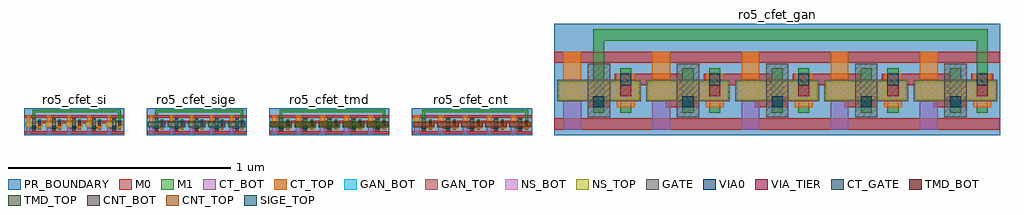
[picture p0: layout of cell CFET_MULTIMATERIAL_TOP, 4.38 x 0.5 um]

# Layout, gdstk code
import gdstk
lib = gdstk.Library(unit=1e-6, precision=1e-09)
def R(c, l, rs):  # rectangles x0, y0, x1, y1
    for r in rs: c.add(gdstk.rectangle(r[:2], r[2:], *l))
def A(c, l, x, y, w, h, nx, ny, dx, dy):  # array of equal rectangles
    R(c, l, [(x+i*dx, y+j*dy, x+i*dx+w, y+j*dy+h) for i in range(nx) for j in range(ny)])
PR_BOUNDARY = (1, 0)
NS_BOT = (10, 0)
NS_TOP = (11, 0)
GATE = (20, 0)
CT_GATE = (21, 0)
CT_BOT = (30, 0)
CT_TOP = (31, 0)
VIA_TIER = (35, 0)
M0 = (40, 0)
VIA0 = (41, 0)
M1 = (42, 0)
SIGE_TOP = (50, 0)
TMD_BOT = (51, 0)
TMD_TOP = (52, 0)
CNT_BOT = (53, 0)
CNT_TOP = (54, 0)
GAN_BOT = (55, 0)
GAN_TOP = (56, 0)

inv_cfet_si = lib.new_cell('inv_cfet_si')
R(inv_cfet_si, PR_BOUNDARY, [(0,0,0.09,0.096)])
R(inv_cfet_si, NS_BOT, [(0.008,0.038,0.082,0.058)])
R(inv_cfet_si, NS_TOP, [(0.008,0.038,0.082,0.058)])
R(inv_cfet_si, GATE, [(0.037,0.02,0.053,0.076)])
R(inv_cfet_si, CT_GATE, [(0.039,0.03,0.051,0.042)])
R(inv_cfet_si, CT_BOT, [(0.013,0.006,0.029,0.058), (0.061,0.03,0.077,0.066)])
R(inv_cfet_si, CT_TOP, [(0.061,0.03,0.077,0.066), (0.013,0.038,0.029,0.09)])
R(inv_cfet_si, VIA_TIER, [(0.063,0.042,0.075,0.054)])
R(inv_cfet_si, M0, [(0,0.006,0.09,0.018), (0.033,0.03,0.057,0.042), (0.057,0.054,0.081,0.066), (0,0.078,0.09,0.09)])
R(inv_cfet_si, VIA0, [(0.039,0.03,0.051,0.042), (0.063,0.054,0.075,0.066)])
R(inv_cfet_si, M1, [(0.039,0.024,0.051,0.072), (0.063,0.024,0.075,0.072)])
inv_cfet_si.add(gdstk.Label('in', (0.045,0.048), layer=42, texttype=1))
inv_cfet_si.add(gdstk.Label('out', (0.069,0.048), layer=42, texttype=1))
inv_cfet_si.add(gdstk.Label('vdd', (0.045,0.084), layer=40, texttype=1))
inv_cfet_si.add(gdstk.Label('vss', (0.045,0.012), layer=40, texttype=1))

ro5_cfet_si = lib.new_cell('ro5_cfet_si')
R(ro5_cfet_si, PR_BOUNDARY, [(0,0,0.45,0.12)])
A(ro5_cfet_si, M0, 0.111, 0.03, 0.018, 0.036, 4, 1, 0.09, 0)
A(ro5_cfet_si, M0, 0.081, 0.054, 0.048, 0.012, 4, 1, 0.09, 0)
R(ro5_cfet_si, M1, [(0.039,0.072,0.051,0.114), (0.423,0.072,0.435,0.114), (0.039,0.102,0.435,0.114)])
ro5_cfet_si.add(gdstk.Reference(inv_cfet_si, (0,0)))
ro5_cfet_si.add(gdstk.Reference(inv_cfet_si, (0.09,0)))
ro5_cfet_si.add(gdstk.Reference(inv_cfet_si, (0.18,0)))
ro5_cfet_si.add(gdstk.Reference(inv_cfet_si, (0.27,0)))
ro5_cfet_si.add(gdstk.Reference(inv_cfet_si, (0.36,0)))
ro5_cfet_si.add(gdstk.Label('n3', (0.249,0.03), layer=42, texttype=1))
ro5_cfet_si.add(gdstk.Label('n5_fb', (0.429,0.108), layer=42, texttype=1))
ro5_cfet_si.add(gdstk.Label('vdd', (0.225,0.084), layer=40, texttype=1))
ro5_cfet_si.add(gdstk.Label('vss', (0.225,0.012), layer=40, texttype=1))

inv_cfet_sige = lib.new_cell('inv_cfet_sige')
R(inv_cfet_sige, PR_BOUNDARY, [(0,0,0.09,0.096)])
R(inv_cfet_sige, NS_BOT, [(0.008,0.038,0.082,0.058)])
R(inv_cfet_sige, NS_TOP, [(0.008,0.038,0.082,0.058)])
R(inv_cfet_sige, GATE, [(0.037,0.02,0.053,0.076)])
R(inv_cfet_sige, CT_GATE, [(0.039,0.03,0.051,0.042)])
R(inv_cfet_sige, CT_BOT, [(0.013,0.006,0.029,0.058), (0.061,0.03,0.077,0.066)])
R(inv_cfet_sige, CT_TOP, [(0.061,0.03,0.077,0.066), (0.013,0.038,0.029,0.09)])
R(inv_cfet_sige, VIA_TIER, [(0.063,0.042,0.075,0.054)])
R(inv_cfet_sige, M0, [(0,0.006,0.09,0.018), (0.033,0.03,0.057,0.042), (0.057,0.054,0.081,0.066), (0,0.078,0.09,0.09)])
R(inv_cfet_sige, VIA0, [(0.039,0.03,0.051,0.042), (0.063,0.054,0.075,0.066)])
R(inv_cfet_sige, M1, [(0.039,0.024,0.051,0.072), (0.063,0.024,0.075,0.072)])
R(inv_cfet_sige, SIGE_TOP, [(0.006,0.036,0.084,0.06)])
inv_cfet_sige.add(gdstk.Label('in', (0.045,0.048), layer=42, texttype=1))
inv_cfet_sige.add(gdstk.Label('out', (0.069,0.048), layer=42, texttype=1))
inv_cfet_sige.add(gdstk.Label('vdd', (0.045,0.084), layer=40, texttype=1))
inv_cfet_sige.add(gdstk.Label('vss', (0.045,0.012), layer=40, texttype=1))

ro5_cfet_sige = lib.new_cell('ro5_cfet_sige')
R(ro5_cfet_sige, PR_BOUNDARY, [(0,0,0.45,0.12)])
A(ro5_cfet_sige, M0, 0.111, 0.03, 0.018, 0.036, 4, 1, 0.09, 0)
A(ro5_cfet_sige, M0, 0.081, 0.054, 0.048, 0.012, 4, 1, 0.09, 0)
R(ro5_cfet_sige, M1, [(0.039,0.072,0.051,0.114), (0.423,0.072,0.435,0.114), (0.039,0.102,0.435,0.114)])
ro5_cfet_sige.add(gdstk.Reference(inv_cfet_sige, (0,0)))
ro5_cfet_sige.add(gdstk.Reference(inv_cfet_sige, (0.09,0)))
ro5_cfet_sige.add(gdstk.Reference(inv_cfet_sige, (0.18,0)))
ro5_cfet_sige.add(gdstk.Reference(inv_cfet_sige, (0.27,0)))
ro5_cfet_sige.add(gdstk.Reference(inv_cfet_sige, (0.36,0)))
ro5_cfet_sige.add(gdstk.Label('n3', (0.249,0.03), layer=42, texttype=1))
ro5_cfet_sige.add(gdstk.Label('n5_fb', (0.429,0.108), layer=42, texttype=1))
ro5_cfet_sige.add(gdstk.Label('vdd', (0.225,0.084), layer=40, texttype=1))
ro5_cfet_sige.add(gdstk.Label('vss', (0.225,0.012), layer=40, texttype=1))

inv_cfet_tmd = lib.new_cell('inv_cfet_tmd')
R(inv_cfet_tmd, PR_BOUNDARY, [(0,0,0.108,0.096)])
R(inv_cfet_tmd, NS_BOT, [(0.008,0.038,0.1,0.058)])
R(inv_cfet_tmd, NS_TOP, [(0.008,0.038,0.1,0.058)])
R(inv_cfet_tmd, GATE, [(0.044,0.02,0.064,0.076)])
R(inv_cfet_tmd, CT_GATE, [(0.048,0.03,0.06,0.042)])
R(inv_cfet_tmd, CT_BOT, [(0.012,0.006,0.036,0.058), (0.072,0.03,0.096,0.066)])
R(inv_cfet_tmd, CT_TOP, [(0.072,0.03,0.096,0.066), (0.012,0.038,0.036,0.09)])
R(inv_cfet_tmd, VIA_TIER, [(0.078,0.042,0.09,0.054)])
R(inv_cfet_tmd, M0, [(0,0.006,0.108,0.018), (0.042,0.03,0.066,0.042), (0.072,0.054,0.096,0.066), (0,0.078,0.108,0.09)])
R(inv_cfet_tmd, VIA0, [(0.048,0.03,0.06,0.042), (0.078,0.054,0.09,0.066)])
R(inv_cfet_tmd, M1, [(0.048,0.024,0.06,0.072), (0.078,0.024,0.09,0.072)])
R(inv_cfet_tmd, TMD_BOT, [(0.006,0.036,0.102,0.06)])
R(inv_cfet_tmd, TMD_TOP, [(0.006,0.036,0.102,0.06)])
inv_cfet_tmd.add(gdstk.Label('in', (0.054,0.048), layer=42, texttype=1))
inv_cfet_tmd.add(gdstk.Label('out', (0.084,0.048), layer=42, texttype=1))
inv_cfet_tmd.add(gdstk.Label('vdd', (0.054,0.084), layer=40, texttype=1))
inv_cfet_tmd.add(gdstk.Label('vss', (0.054,0.012), layer=40, texttype=1))

ro5_cfet_tmd = lib.new_cell('ro5_cfet_tmd')
R(ro5_cfet_tmd, PR_BOUNDARY, [(0,0,0.54,0.12)])
A(ro5_cfet_tmd, M0, 0.138, 0.03, 0.018, 0.036, 4, 1, 0.108, 0)
A(ro5_cfet_tmd, M0, 0.096, 0.054, 0.06, 0.012, 4, 1, 0.108, 0)
R(ro5_cfet_tmd, M1, [(0.048,0.072,0.06,0.114), (0.51,0.072,0.522,0.114), (0.048,0.102,0.522,0.114)])
ro5_cfet_tmd.add(gdstk.Reference(inv_cfet_tmd, (0,0)))
ro5_cfet_tmd.add(gdstk.Reference(inv_cfet_tmd, (0.108,0)))
ro5_cfet_tmd.add(gdstk.Reference(inv_cfet_tmd, (0.216,0)))
ro5_cfet_tmd.add(gdstk.Reference(inv_cfet_tmd, (0.324,0)))
ro5_cfet_tmd.add(gdstk.Reference(inv_cfet_tmd, (0.432,0)))
ro5_cfet_tmd.add(gdstk.Label('n3', (0.3,0.03), layer=42, texttype=1))
ro5_cfet_tmd.add(gdstk.Label('n5_fb', (0.516,0.108), layer=42, texttype=1))
ro5_cfet_tmd.add(gdstk.Label('vdd', (0.27,0.084), layer=40, texttype=1))
ro5_cfet_tmd.add(gdstk.Label('vss', (0.27,0.012), layer=40, texttype=1))

inv_cfet_cnt = lib.new_cell('inv_cfet_cnt')
R(inv_cfet_cnt, PR_BOUNDARY, [(0,0,0.108,0.096)])
R(inv_cfet_cnt, NS_BOT, [(0.008,0.038,0.1,0.058)])
R(inv_cfet_cnt, NS_TOP, [(0.008,0.038,0.1,0.058)])
R(inv_cfet_cnt, GATE, [(0.044,0.02,0.064,0.076)])
R(inv_cfet_cnt, CT_GATE, [(0.048,0.03,0.06,0.042)])
R(inv_cfet_cnt, CT_BOT, [(0.012,0.006,0.036,0.058), (0.072,0.03,0.096,0.066)])
R(inv_cfet_cnt, CT_TOP, [(0.072,0.03,0.096,0.066), (0.012,0.038,0.036,0.09)])
R(inv_cfet_cnt, VIA_TIER, [(0.078,0.042,0.09,0.054)])
R(inv_cfet_cnt, M0, [(0,0.006,0.108,0.018), (0.042,0.03,0.066,0.042), (0.072,0.054,0.096,0.066), (0,0.078,0.108,0.09)])
R(inv_cfet_cnt, VIA0, [(0.048,0.03,0.06,0.042), (0.078,0.054,0.09,0.066)])
R(inv_cfet_cnt, M1, [(0.048,0.024,0.06,0.072), (0.078,0.024,0.09,0.072)])
R(inv_cfet_cnt, CNT_BOT, [(0.006,0.036,0.102,0.06)])
R(inv_cfet_cnt, CNT_TOP, [(0.006,0.036,0.102,0.06)])
inv_cfet_cnt.add(gdstk.Label('in', (0.054,0.048), layer=42, texttype=1))
inv_cfet_cnt.add(gdstk.Label('out', (0.084,0.048), layer=42, texttype=1))
inv_cfet_cnt.add(gdstk.Label('vdd', (0.054,0.084), layer=40, texttype=1))
inv_cfet_cnt.add(gdstk.Label('vss', (0.054,0.012), layer=40, texttype=1))

ro5_cfet_cnt = lib.new_cell('ro5_cfet_cnt')
R(ro5_cfet_cnt, PR_BOUNDARY, [(0,0,0.54,0.12)])
A(ro5_cfet_cnt, M0, 0.138, 0.03, 0.018, 0.036, 4, 1, 0.108, 0)
A(ro5_cfet_cnt, M0, 0.096, 0.054, 0.06, 0.012, 4, 1, 0.108, 0)
R(ro5_cfet_cnt, M1, [(0.048,0.072,0.06,0.114), (0.51,0.072,0.522,0.114), (0.048,0.102,0.522,0.114)])
ro5_cfet_cnt.add(gdstk.Reference(inv_cfet_cnt, (0,0)))
ro5_cfet_cnt.add(gdstk.Reference(inv_cfet_cnt, (0.108,0)))
ro5_cfet_cnt.add(gdstk.Reference(inv_cfet_cnt, (0.216,0)))
ro5_cfet_cnt.add(gdstk.Reference(inv_cfet_cnt, (0.324,0)))
ro5_cfet_cnt.add(gdstk.Reference(inv_cfet_cnt, (0.432,0)))
ro5_cfet_cnt.add(gdstk.Label('n3', (0.3,0.03), layer=42, texttype=1))
ro5_cfet_cnt.add(gdstk.Label('n5_fb', (0.516,0.108), layer=42, texttype=1))
ro5_cfet_cnt.add(gdstk.Label('vdd', (0.27,0.084), layer=40, texttype=1))
ro5_cfet_cnt.add(gdstk.Label('vss', (0.27,0.012), layer=40, texttype=1))

inv_cfet_gan = lib.new_cell('inv_cfet_gan')
R(inv_cfet_gan, PR_BOUNDARY, [(0,0,0.4,0.4)])
R(inv_cfet_gan, NS_BOT, [(0.02,0.16,0.38,0.24)])
R(inv_cfet_gan, NS_TOP, [(0.02,0.16,0.38,0.24)])
R(inv_cfet_gan, GATE, [(0.15,0.08,0.25,0.32)])
R(inv_cfet_gan, CT_GATE, [(0.175,0.125,0.225,0.175)])
R(inv_cfet_gan, CT_BOT, [(0.04,0.025,0.12,0.24), (0.28,0.125,0.36,0.275)])
R(inv_cfet_gan, CT_TOP, [(0.28,0.125,0.36,0.275), (0.04,0.16,0.12,0.375)])
R(inv_cfet_gan, VIA_TIER, [(0.295,0.175,0.345,0.225)])
R(inv_cfet_gan, M0, [(0,0.025,0.4,0.075), (0.15,0.125,0.25,0.175), (0.27,0.225,0.37,0.275), (0,0.325,0.4,0.375)])
R(inv_cfet_gan, VIA0, [(0.175,0.125,0.225,0.175), (0.295,0.225,0.345,0.275)])
R(inv_cfet_gan, M1, [(0.175,0.1,0.225,0.3), (0.295,0.1,0.345,0.3)])
R(inv_cfet_gan, GAN_BOT, [(0.012,0.152,0.388,0.248)])
R(inv_cfet_gan, GAN_TOP, [(0.012,0.152,0.388,0.248)])
inv_cfet_gan.add(gdstk.Label('in', (0.2,0.2), layer=42, texttype=1))
inv_cfet_gan.add(gdstk.Label('out', (0.32,0.2), layer=42, texttype=1))
inv_cfet_gan.add(gdstk.Label('vdd', (0.2,0.35), layer=40, texttype=1))
inv_cfet_gan.add(gdstk.Label('vss', (0.2,0.05), layer=40, texttype=1))

ro5_cfet_gan = lib.new_cell('ro5_cfet_gan')
R(ro5_cfet_gan, PR_BOUNDARY, [(0,0,2,0.5)])
A(ro5_cfet_gan, M0, 0.5, 0.125, 0.075, 0.15, 4, 1, 0.4, 0)
A(ro5_cfet_gan, M0, 0.37, 0.225, 0.205, 0.05, 4, 1, 0.4, 0)
R(ro5_cfet_gan, M1, [(0.175,0.3,0.225,0.475), (1.895,0.3,1.945,0.475), (0.175,0.425,1.945,0.475)])
ro5_cfet_gan.add(gdstk.Reference(inv_cfet_gan, (0,0)))
ro5_cfet_gan.add(gdstk.Reference(inv_cfet_gan, (0.4,0)))
ro5_cfet_gan.add(gdstk.Reference(inv_cfet_gan, (0.8,0)))
ro5_cfet_gan.add(gdstk.Reference(inv_cfet_gan, (1.2,0)))
ro5_cfet_gan.add(gdstk.Reference(inv_cfet_gan, (1.6,0)))
ro5_cfet_gan.add(gdstk.Label('n3', (1.12,0.125), layer=42, texttype=1))
ro5_cfet_gan.add(gdstk.Label('n5_fb', (1.92,0.45), layer=42, texttype=1))
ro5_cfet_gan.add(gdstk.Label('vdd', (1,0.35), layer=40, texttype=1))
ro5_cfet_gan.add(gdstk.Label('vss', (1,0.05), layer=40, texttype=1))

cfet_multimaterial_top = lib.new_cell('CFET_MULTIMATERIAL_TOP')
cfet_multimaterial_top.add(gdstk.Reference(ro5_cfet_si, (0,0)))
cfet_multimaterial_top.add(gdstk.Reference(ro5_cfet_sige, (0.55,0)))
cfet_multimaterial_top.add(gdstk.Reference(ro5_cfet_tmd, (1.1,0)))
cfet_multimaterial_top.add(gdstk.Reference(ro5_cfet_cnt, (1.74,0)))
cfet_multimaterial_top.add(gdstk.Reference(ro5_cfet_gan, (2.38,0)))
cfet_multimaterial_top.add(gdstk.Label('ro5_cfet_si', (0.225,0.16), layer=60, texttype=0))
cfet_multimaterial_top.add(gdstk.Label('ro5_cfet_sige', (0.775,0.16), layer=60, texttype=0))
cfet_multimaterial_top.add(gdstk.Label('ro5_cfet_tmd', (1.37,0.16), layer=60, texttype=0))
cfet_multimaterial_top.add(gdstk.Label('ro5_cfet_cnt', (2.01,0.16), layer=60, texttype=0))
cfet_multimaterial_top.add(gdstk.Label('ro5_cfet_gan', (3.38,0.54), layer=60, texttype=0))

lib.write_gds('CFET_MULTIMATERIAL_TOP.gds')
